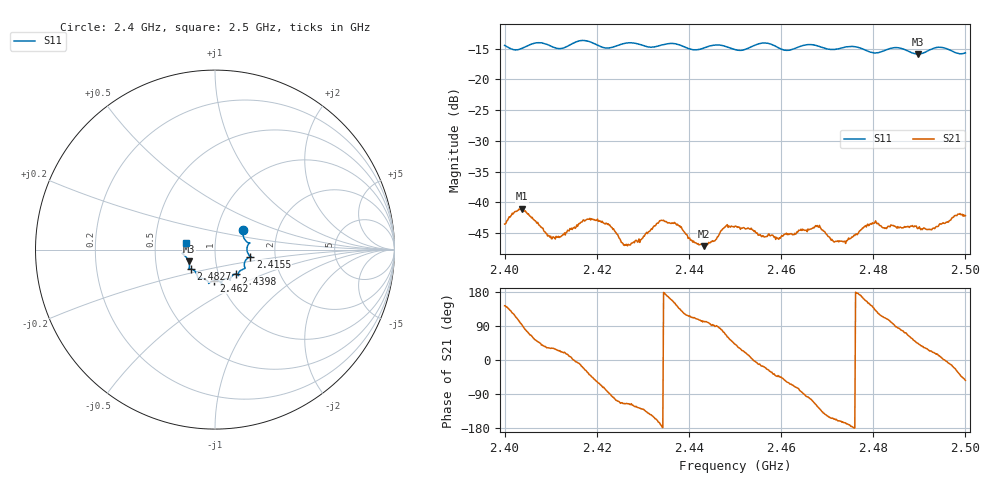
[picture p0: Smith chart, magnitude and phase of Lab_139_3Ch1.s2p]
# Hz S RI R 50
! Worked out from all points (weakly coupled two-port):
!   601 points, 2.4 GHz to 2.5 GHz, reference 50 ohm
!   highest |S21| = -41.04 dB at 2.4038 GHz (marker M1); lowest = -47.1 dB at 2.4432 GHz (marker M2)
!   lowest |S11| = -15.9 dB at 2.4897 GHz (marker M3), VSWR 1.38, Z = 36.9 - j4.87 ohm
!   |S11| at or under -10 dB: start of sweep to end of sweep
!   S12 and S22 are empty: the file has one direction only
!   S11 on the Smith chart (normalised r, x): 2.4 GHz: 1.33, +0.29; 2.4155 GHz: 1.49, -0.12; 2.4398 GHz: 1.21, -0.34; 2.462 GHz: 0.93, -0.33; 2.4827 GHz: 0.75, -0.17; 2.5 GHz: 0.72, +0.06
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2.4e9  0.1558 0.1064  -0.00533 0.00398  0 0  0 0
2.403833e9  0.1725 0.0476  -0.000219 0.00887  0 0  0 0
2.409833e9  0.1856 0.0286  0.00444 0.0027  0 0  0 0
2.4155e9  0.1975 -0.0392  0.00626 -0.000529  0 0  0 0
2.416667e9  0.2024 -0.0424  0.00663 -0.00194  0 0  0 0
2.4225e9  0.1653 -0.0703  0.000533 -0.00667  0 0  0 0
2.426333e9  0.168 -0.1027  -0.00188 -0.00406  0 0  0 0
2.433333e9  0.1297 -0.1342  -0.00649 -0.0019  0 0  0 0
2.437333e9  0.1309 -0.1426  -0.00529 0.00383  0 0  0 0
2.439833e9  0.1154 -0.1359  -0.00228 0.00454  0 0  0 0
2.443167e9  0.0877 -0.1564  -0.000956 0.00429  0 0  0 0
2.45e9  0.0649 -0.1621  0.00478 0.00424  0 0  0 0
2.456333e9  0.039 -0.1937  0.00496 -0.00161  0 0  0 0
2.462e9  -0.00543 -0.1731  0.00244 -0.00496  0 0  0 0
2.466667e9  -0.0349 -0.1882  -0.00167 -0.00588  0 0  0 0
2.4735e9  -0.0853 -0.1599  -0.0046 -0.00124  0 0  0 0
2.48e9  -0.1097 -0.1224  -0.00505 0.0045  0 0  0 0
2.482667e9  -0.1343 -0.1085  -0.00216 0.0058  0 0  0 0
2.483333e9  -0.1395 -0.1082  -0.00174 0.00615  0 0  0 0
2.489667e9  -0.1468 -0.0642  0.00438 0.00426  0 0  0 0
2.494167e9  -0.181 -0.022  0.00629 0.00128  0 0  0 0
2.5e9  -0.1595 0.0388  0.00461 -0.00628  0 0  0 0
